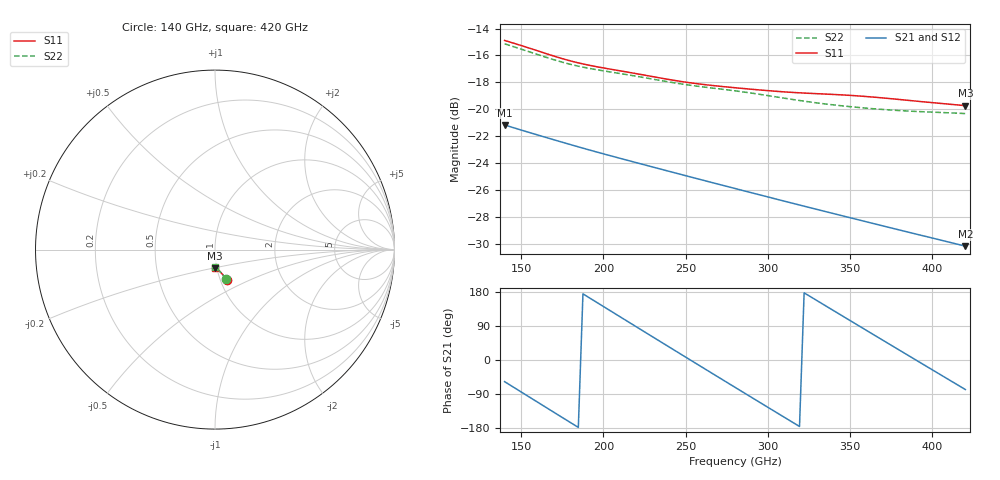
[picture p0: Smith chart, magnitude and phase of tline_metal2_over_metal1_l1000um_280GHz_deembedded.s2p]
! Created with skrf 2.2.0 (http://scikit-rf.org).
# GHz S DB R 50.0
! Port[1] = P1
! Port[2] = P2
!freq dBS11 angS11 dBS21 angS21 dBS12 angS12 dBS22 angS22
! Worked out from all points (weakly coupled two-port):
!   101 points, 140 GHz to 420 GHz, reference 50 ohm
!   highest |S21| = -21.15 dB at 140 GHz (marker M1); lowest = -30.1 dB at 420 GHz (marker M2)
!   lowest |S11| = -19.7 dB at 420 GHz (marker M3), VSWR 1.23, Z = 48.7 - j10.2 ohm
!   |S11| at or under -10 dB: start of sweep to end of sweep
!   |S22| runs from -20.3 to -15.1 dB; largest |S21 - S12| = 9.1e-14
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140  -14.89 -68.0  -21.15 -57.2  -21.15 -57.2  -15.13 -69.0
148.4  -15.20 -69.2  -21.47 -79.8  -21.47 -79.8  -15.47 -70.0
159.6  -15.64 -70.6  -21.88 -110.1  -21.88 -110.1  -15.91 -71.2
173.6  -16.18 -71.9  -22.38 -147.8  -22.38 -147.8  -16.45 -72.2
187.6  -16.63 -72.6  -22.87 174.6  -22.87 174.6  -16.87 -72.7
201.6  -16.96 -73.4  -23.34 137.0  -23.34 137.0  -17.17 -73.6
212.8  -17.19 -74.3  -23.71 107.0  -23.71 107.0  -17.39 -74.5
224  -17.44 -75.3  -24.08 77.0  -24.08 77.0  -17.62 -75.6
235.2  -17.68 -76.2  -24.44 47.1  -24.44 47.1  -17.87 -76.7
246.4  -17.91 -76.9  -24.80 17.2  -24.80 17.2  -18.09 -77.5
254.8  -18.06 -77.3  -25.07 -5.1  -25.07 -5.1  -18.24 -78.1
268.8  -18.26 -78.1  -25.51 -42.3  -25.51 -42.3  -18.45 -79.3
280  -18.39 -78.8  -25.86 -72.0  -25.86 -72.0  -18.62 -80.4
291.2  -18.52 -79.6  -26.21 -101.7  -26.21 -101.7  -18.81 -81.5
305.2  -18.66 -80.5  -26.65 -138.6  -26.65 -138.6  -19.08 -82.8
316.4  -18.75 -81.3  -27.00 -168.1  -27.00 -168.1  -19.29 -83.6
327.6  -18.82 -82.2  -27.35 162.5  -27.35 162.5  -19.48 -84.2
350  -18.96 -84.6  -28.03 103.9  -28.03 103.9  -19.80 -85.1
361.2  -19.06 -85.8  -28.37 74.7  -28.37 74.7  -19.92 -85.6
375.2  -19.21 -87.4  -28.80 38.2  -28.80 38.2  -20.05 -86.1
394.8  -19.44 -89.2  -29.39 -12.7  -29.39 -12.7  -20.18 -87.0
420  -19.72 -91.2  -30.14 -78.0  -30.14 -78.0  -20.31 -88.5
